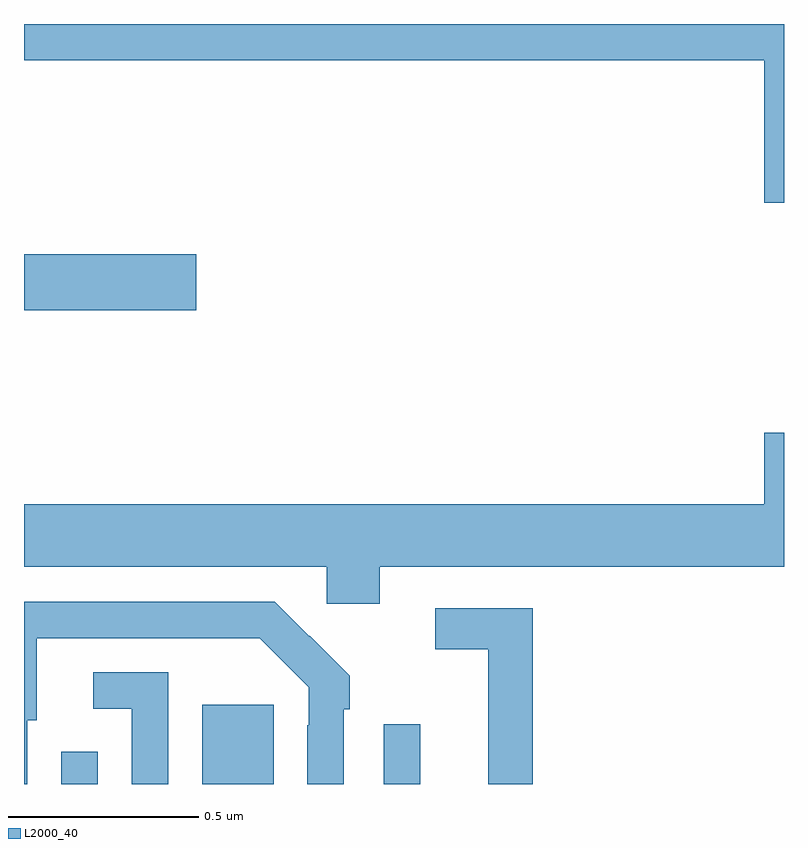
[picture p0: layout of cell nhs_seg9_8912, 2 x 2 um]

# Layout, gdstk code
import gdstk
lib = gdstk.Library(unit=1e-6, precision=1e-09)
def R(c, l, rs):  # rectangles x0, y0, x1, y1
    for r in rs: c.add(gdstk.rectangle(r[:2], r[2:], *l))
def P(c, l, *ps):  # polygons
    for p in ps: c.add(gdstk.Polygon(p, *l))
L2000_40 = (2000, 40)

nhs_seg9_8912 = lib.new_cell('nhs_seg9_8912')
R(nhs_seg9_8912, L2000_40, [(223.098,1210.5,223.194,1210.585), (223.469,1210.5,223.657,1210.708), (223.947,1210.5,224.043,1210.657), (223,1211.747,223.453,1211.894)])
P(nhs_seg9_8912, L2000_40, [(225,1212.5),(223,1212.5),(223,1212.404),(224.948,1212.404),(224.948,1212.03),(225,1212.03)],
  [(223.936,1211.072),(225,1211.072),(225,1211.425),(224.948,1211.425),(224.948,1211.236),(223,1211.236),(223,1211.072),(223.797,1211.072),(223.797,1210.974),(223.936,1210.974)],
  [(223.009,1210.668),(223.033,1210.668),(223.033,1210.884),(223.621,1210.884),(223.749,1210.755),(223.749,1210.655),(223.746,1210.655),(223.746,1210.5),(223.842,1210.5),(223.842,1210.697),(223.857,1210.697),(223.857,1210.785),(223.752,1210.89),(223.751,1210.889),(223.66,1210.98),(223,1210.98),(223,1210.5),(223.009,1210.5)],
  [(224.339,1210.962),(224.082,1210.962),(224.082,1210.854),(224.222,1210.854),(224.222,1210.5),(224.339,1210.5)],
  [(223.38,1210.794),(223.182,1210.794),(223.182,1210.698),(223.284,1210.698),(223.284,1210.5),(223.38,1210.5)])

lib.write_gds('nhs_seg9_8912.gds')
